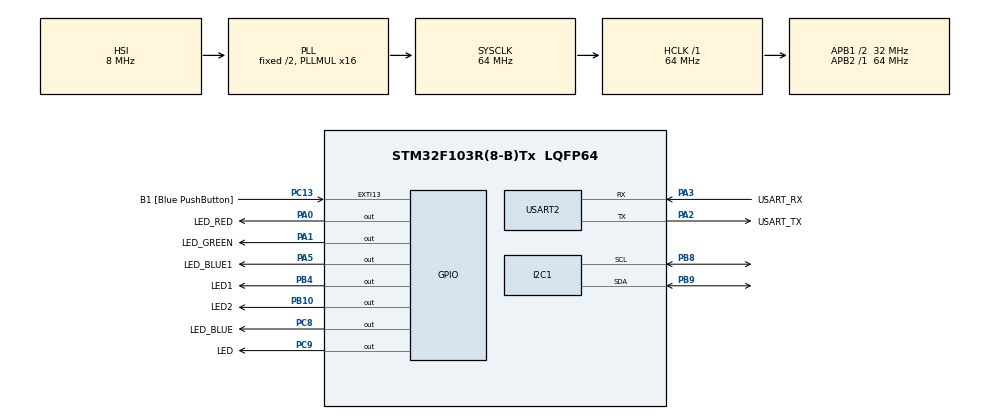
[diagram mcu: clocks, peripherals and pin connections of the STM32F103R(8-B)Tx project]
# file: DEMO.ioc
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Mcu.Family=STM32F1
Mcu.Name=STM32F103R(8-B)Tx
Mcu.Package=LQFP64
NVIC.EXTI15_10_IRQn=true\:0\:0\:false\:false\:true\:true\:true
NVIC.PriorityGroup=NVIC_PRIORITYGROUP_4
NVIC.RTC_IRQn=true\:0\:0\:false\:false\:true\:true\:true
NVIC.TIM1_UP_IRQn=true\:0\:0\:false\:false\:true\:true\:true
NVIC.USART2_IRQn=true\:0\:0\:false\:false\:true\:true\:true
PA0-WKUP.GPIO_Label=LED_RED
PA0-WKUP.Signal=GPIO_Output
PA1.GPIO_Label=LED_GREEN
PA1.Signal=GPIO_Output
PA13.GPIO_Label=TMS
PA13.Mode=Serial_Wire
PA13.Signal=SYS_JTMS-SWDIO
PA14.GPIO_Label=TCK
PA14.Mode=Serial_Wire
PA14.Signal=SYS_JTCK-SWCLK
PA2.GPIO_Label=USART_TX
PA2.GPIO_Mode=GPIO_MODE_AF_PP
PA2.GPIO_PuPd=GPIO_NOPULL
PA2.GPIO_Speed=GPIO_SPEED_FREQ_LOW
PA2.Mode=Asynchronous
PA2.Signal=USART2_TX
PA3.GPIO_Label=USART_RX
PA3.GPIO_Mode=GPIO_MODE_AF_PP
PA3.GPIO_PuPd=GPIO_NOPULL
PA3.GPIO_Speed=GPIO_SPEED_FREQ_LOW
PA3.Mode=Asynchronous
PA3.Signal=USART2_RX
PA5.GPIO_Label=LED_BLUE1
PA5.GPIO_ModeDefaultOutputPP=GPIO_MODE_OUTPUT_PP
PA5.GPIO_PuPd=GPIO_NOPULL
PA5.GPIO_Speed=GPIO_SPEED_FREQ_LOW
PA5.Signal=GPIO_Output
PB10.GPIO_Label=LED2
PB10.Signal=GPIO_Output
PB3.GPIO_Label=SWO
PB3.Signal=SYS_JTDO-TRACESWO
PB4.GPIO_Label=LED1
PB4.Signal=GPIO_Output
PB8.Mode=I2C
PB8.Signal=I2C1_SCL
PB9.Mode=I2C
PB9.Signal=I2C1_SDA
PC13-TAMPER-RTC.GPIO_Label=B1 [Blue PushButton]
PC13-TAMPER-RTC.GPIO_PuPd=GPIO_NOPULL
PC13-TAMPER-RTC.Signal=GPXTI13
PC14-OSC32_IN.Mode=LSE-External-Oscillator
PC14-OSC32_IN.Signal=RCC_OSC32_IN
PC15-OSC32_OUT.Mode=LSE-External-Oscillator
PC15-OSC32_OUT.Signal=RCC_OSC32_OUT
PC8.GPIO_Label=LED_BLUE
PC8.Signal=GPIO_Output
PC9.GPIO_Label=LED
PC9.Signal=GPIO_Output
PD0-OSC_IN.Mode=HSE-External-Oscillator
PD0-OSC_IN.Signal=RCC_OSC_IN
PD1-OSC_OUT.Mode=HSE-External-Oscillator
PD1-OSC_OUT.Signal=RCC_OSC_OUT
ProjectManager.HeapSize=0x200
ProjectManager.StackSize=0x400
ProjectManager.TargetToolchain=STM32CubeIDE
RCC.AHBFreq_Value=64000000
RCC.APB1CLKDivider=RCC_HCLK_DIV2
RCC.APB1Freq_Value=32000000
RCC.APB1TimFreq_Value=64000000
RCC.APB2Freq_Value=64000000
RCC.APB2TimFreq_Value=64000000
RCC.HCLKFreq_Value=64000000
RCC.PLLMUL=RCC_PLL_MUL16
RCC.RTCClockSelection=RCC_RTCCLKSOURCE_LSE
RCC.SYSCLKFreq_VALUE=64000000
RCC.SYSCLKSource=RCC_SYSCLKSOURCE_PLLCLK
RCC.USBFreq_Value=64000000
RTC.Date=7
RTC.Hours=17
RTC.Minutes=30
RTC.Month=RTC_MONTH_NOVEMBER
RTC.WeekDay=RTC_WEEKDAY_THURSDAY
RTC.Year=24
TIM1.Period=9
TIM1.Prescaler=63999
USART2.VirtualMode=VM_ASYNC
VP_RTC_No_RTC_Output.Mode=RTC_OUT_NO
VP_RTC_VS_RTC_Activate.Mode=RTC_Enabled
VP_RTC_VS_RTC_Calendar.Mode=RTC_Calendar
VP_TIM1_VS_ClockSourceINT.Mode=Internal
board=NUCLEO-F103RB

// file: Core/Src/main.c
/* USER CODE BEGIN Header */
/**
  ******************************************************************************
  * @file           : main.c
  * @brief          : Main program body
  ******************************************************************************
  * @attention
  *
  * <h2><center>&copy; Copyright (c) 2024 STMicroelectronics.
  * All rights reserved.</center></h2>
  *
  * This software component is licensed by ST under BSD 3-Clause license,
  * the "License"; You may not use this file except in compliance with the
  * License. You may obtain a copy of the License at:
  *                        opensource.org/licenses/BSD-3-Clause
  *
  ******************************************************************************
  */
/* USER CODE END Header */
#include "main.h"

/* USER CODE BEGIN Includes */
#include "i2c-lcd.h"
#include "global.h"
#include "LED.h"
#include "fsm.h"
#include "software_timer.h"
#include <string.h>
#include <stdio.h>
#include "uart_com.h"
/* USER CODE END Includes */

I2C_HandleTypeDef hi2c1;

RTC_HandleTypeDef hrtc;

TIM_HandleTypeDef htim1;

UART_HandleTypeDef huart2;

void SystemClock_Config(void);
static void MX_GPIO_Init(void);
static void MX_I2C1_Init(void);
static void MX_TIM1_Init(void);
static void MX_RTC_Init(void);
static void MX_USART2_UART_Init(void);

int main(void)
{

  /* MCU Configuration--------------------------------------------------------*/

  /* Reset of all peripherals, Initializes the Flash interface and the Systick. */
  HAL_Init();

  /* Configure the system clock */
  SystemClock_Config();

  /* Initialize all configured peripherals */
  MX_GPIO_Init();
  MX_I2C1_Init();
  MX_TIM1_Init();
  MX_RTC_Init();
  MX_USART2_UART_Init();
  /* USER CODE BEGIN 2 */
  HAL_TIM_Base_Start_IT(&htim1);
  lcd_init();
  /* USER CODE END 2 */

  /* Infinite loop */
  /* USER CODE BEGIN WHILE */
  status = WAITING;
  HAL_UART_Receive_IT(&huart2,&temp,1);
  //uint8_t n = 3;

  while (1)
  {
  if (buffer_flag == 1) {
	  command_parser_fsm();
	  buffer_flag = 0;
  }
  fsm_run();
    /* USER CODE END WHILE */

  }
}

void SystemClock_Config(void)
{
  RCC_OscInitTypeDef RCC_OscInitStruct = {0};
  RCC_ClkInitTypeDef RCC_ClkInitStruct = {0};
  RCC_PeriphCLKInitTypeDef PeriphClkInit = {0};

  /** Initializes the RCC Oscillators according to the specified parameters
  * in the RCC_OscInitTypeDef structure.
  */
  RCC_OscInitStruct.OscillatorType = RCC_OSCILLATORTYPE_HSI|RCC_OSCILLATORTYPE_LSE;
  RCC_OscInitStruct.LSEState = RCC_LSE_ON;
  RCC_OscInitStruct.HSIState = RCC_HSI_ON;
  RCC_OscInitStruct.HSICalibrationValue = RCC_HSICALIBRATION_DEFAULT;
  RCC_OscInitStruct.PLL.PLLState = RCC_PLL_ON;
  RCC_OscInitStruct.PLL.PLLSource = RCC_PLLSOURCE_HSI_DIV2;
  RCC_OscInitStruct.PLL.PLLMUL = RCC_PLL_MUL16;
  if (HAL_RCC_OscConfig(&RCC_OscInitStruct) != HAL_OK)
  {
    Error_Handler();
  }
  /** Initializes the CPU, AHB and APB buses clocks
  */
  RCC_ClkInitStruct.ClockType = RCC_CLOCKTYPE_HCLK|RCC_CLOCKTYPE_SYSCLK
                              |RCC_CLOCKTYPE_PCLK1|RCC_CLOCKTYPE_PCLK2;
  RCC_ClkInitStruct.SYSCLKSource = RCC_SYSCLKSOURCE_PLLCLK;
  RCC_ClkInitStruct.AHBCLKDivider = RCC_SYSCLK_DIV1;
  RCC_ClkInitStruct.APB1CLKDivider = RCC_HCLK_DIV2;
  RCC_ClkInitStruct.APB2CLKDivider = RCC_HCLK_DIV1;

  if (HAL_RCC_ClockConfig(&RCC_ClkInitStruct, FLASH_LATENCY_2) != HAL_OK)
  {
    Error_Handler();
  }
  PeriphClkInit.PeriphClockSelection = RCC_PERIPHCLK_RTC;
  PeriphClkInit.RTCClockSelection = RCC_RTCCLKSOURCE_LSE;
  if (HAL_RCCEx_PeriphCLKConfig(&PeriphClkInit) != HAL_OK)
  {
    Error_Handler();
  }
}

static void MX_I2C1_Init(void)
{

  hi2c1.Instance = I2C1;
  hi2c1.Init.ClockSpeed = 100000;
  hi2c1.Init.DutyCycle = I2C_DUTYCYCLE_2;
  hi2c1.Init.OwnAddress1 = 0;
  hi2c1.Init.AddressingMode = I2C_ADDRESSINGMODE_7BIT;
  hi2c1.Init.DualAddressMode = I2C_DUALADDRESS_DISABLE;
  hi2c1.Init.OwnAddress2 = 0;
  hi2c1.Init.GeneralCallMode = I2C_GENERALCALL_DISABLE;
  hi2c1.Init.NoStretchMode = I2C_NOSTRETCH_DISABLE;
  if (HAL_I2C_Init(&hi2c1) != HAL_OK)
  {
    Error_Handler();
  }

}

static void MX_RTC_Init(void)
{

  RTC_TimeTypeDef sTime = {0};
  RTC_DateTypeDef DateToUpdate = {0};

  /** Initialize RTC Only
  */
  hrtc.Instance = RTC;
  hrtc.Init.AsynchPrediv = RTC_AUTO_1_SECOND;
  hrtc.Init.OutPut = RTC_OUTPUTSOURCE_NONE;
  if (HAL_RTC_Init(&hrtc) != HAL_OK)
  {
    Error_Handler();
  }

  /** Initialize RTC and set the Time and Date
  */
  sTime.Hours = 0x17;
  sTime.Minutes = 0x30;
  sTime.Seconds = 0x0;

  if (HAL_RTC_SetTime(&hrtc, &sTime, RTC_FORMAT_BCD) != HAL_OK)
  {
    Error_Handler();
  }
  DateToUpdate.WeekDay = RTC_WEEKDAY_THURSDAY;
  DateToUpdate.Month = RTC_MONTH_NOVEMBER;
  DateToUpdate.Date = 0x7;
  DateToUpdate.Year = 0x24;

  if (HAL_RTC_SetDate(&hrtc, &DateToUpdate, RTC_FORMAT_BCD) != HAL_OK)
  {
    Error_Handler();
  }

}

static void MX_TIM1_Init(void)
{

  TIM_ClockConfigTypeDef sClockSourceConfig = {0};
  TIM_MasterConfigTypeDef sMasterConfig = {0};

  htim1.Instance = TIM1;
  htim1.Init.Prescaler = 63999;
  htim1.Init.CounterMode = TIM_COUNTERMODE_UP;
  htim1.Init.Period = 9;
  htim1.Init.ClockDivision = TIM_CLOCKDIVISION_DIV1;
  htim1.Init.RepetitionCounter = 0;
  htim1.Init.AutoReloadPreload = TIM_AUTORELOAD_PRELOAD_DISABLE;
  if (HAL_TIM_Base_Init(&htim1) != HAL_OK)
  {
    Error_Handler();
  }
  sClockSourceConfig.ClockSource = TIM_CLOCKSOURCE_INTERNAL;
  if (HAL_TIM_ConfigClockSource(&htim1, &sClockSourceConfig) != HAL_OK)
  {
    Error_Handler();
  }
  sMasterConfig.MasterOutputTrigger = TIM_TRGO_RESET;
  sMasterConfig.MasterSlaveMode = TIM_MASTERSLAVEMODE_DISABLE;
  if (HAL_TIMEx_MasterConfigSynchronization(&htim1, &sMasterConfig) != HAL_OK)
  {
    Error_Handler();
  }

}

static void MX_USART2_UART_Init(void)
{

  huart2.Instance = USART2;
  huart2.Init.BaudRate = 115200;
  huart2.Init.WordLength = UART_WORDLENGTH_8B;
  huart2.Init.StopBits = UART_STOPBITS_1;
  huart2.Init.Parity = UART_PARITY_NONE;
  huart2.Init.Mode = UART_MODE_TX_RX;
  huart2.Init.HwFlowCtl = UART_HWCONTROL_NONE;
  huart2.Init.OverSampling = UART_OVERSAMPLING_16;
  if (HAL_UART_Init(&huart2) != HAL_OK)
  {
    Error_Handler();
  }

}

static void MX_GPIO_Init(void)
{
  GPIO_InitTypeDef GPIO_InitStruct = {0};

  /* GPIO Ports Clock Enable */
  __HAL_RCC_GPIOC_CLK_ENABLE();
  __HAL_RCC_GPIOD_CLK_ENABLE();
  __HAL_RCC_GPIOA_CLK_ENABLE();
  __HAL_RCC_GPIOB_CLK_ENABLE();

  /*Configure GPIO pin Output Level */
  HAL_GPIO_WritePin(GPIOA, LED_RED_Pin|LED_GREEN_Pin|LED_BLUE1_Pin, GPIO_PIN_RESET);

  /*Configure GPIO pin Output Level */
  HAL_GPIO_WritePin(GPIOB, LED2_Pin|LED1_Pin, GPIO_PIN_RESET);

  /*Configure GPIO pin Output Level */
  HAL_GPIO_WritePin(GPIOC, LED_BLUE_Pin|LED_Pin, GPIO_PIN_RESET);

  /*Configure GPIO pin : B1_Pin */
  GPIO_InitStruct.Pin = B1_Pin;
  GPIO_InitStruct.Mode = GPIO_MODE_IT_RISING;
  GPIO_InitStruct.Pull = GPIO_NOPULL;
  HAL_GPIO_Init(B1_GPIO_Port, &GPIO_InitStruct);

  /*Configure GPIO pins : LED_RED_Pin LED_GREEN_Pin LED_BLUE1_Pin */
  GPIO_InitStruct.Pin = LED_RED_Pin|LED_GREEN_Pin|LED_BLUE1_Pin;
  GPIO_InitStruct.Mode = GPIO_MODE_OUTPUT_PP;
  GPIO_InitStruct.Pull = GPIO_NOPULL;
  GPIO_InitStruct.Speed = GPIO_SPEED_FREQ_LOW;
  HAL_GPIO_Init(GPIOA, &GPIO_InitStruct);

  /*Configure GPIO pins : LED2_Pin LED1_Pin */
  GPIO_InitStruct.Pin = LED2_Pin|LED1_Pin;
  GPIO_InitStruct.Mode = GPIO_MODE_OUTPUT_PP;
  GPIO_InitStruct.Pull = GPIO_NOPULL;
  GPIO_InitStruct.Speed = GPIO_SPEED_FREQ_LOW;
  HAL_GPIO_Init(GPIOB, &GPIO_InitStruct);

  /*Configure GPIO pins : LED_BLUE_Pin LED_Pin */
  GPIO_InitStruct.Pin = LED_BLUE_Pin|LED_Pin;
  GPIO_InitStruct.Mode = GPIO_MODE_OUTPUT_PP;
  GPIO_InitStruct.Pull = GPIO_NOPULL;
  GPIO_InitStruct.Speed = GPIO_SPEED_FREQ_LOW;
  HAL_GPIO_Init(GPIOC, &GPIO_InitStruct);

  /* EXTI interrupt init*/
  HAL_NVIC_SetPriority(EXTI15_10_IRQn, 0, 0);
  HAL_NVIC_EnableIRQ(EXTI15_10_IRQn);

}

/* USER CODE BEGIN 4 */
void HAL_TIM_PeriodElapsedCallback(TIM_HandleTypeDef * htim)
{
	timer_run();
}
/* USER CODE END 4 */

void Error_Handler(void)
{
  __disable_irq();
  while (1)
  {
  }
}

/************************ (C) COPYRIGHT STMicroelectronics *****END OF FILE****/
